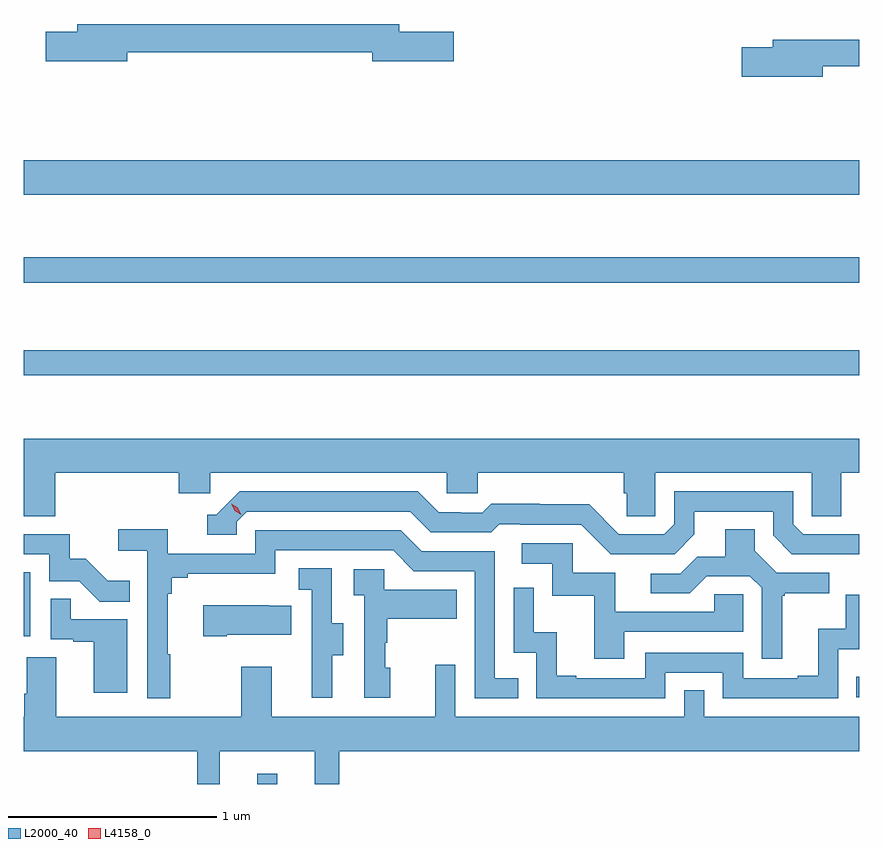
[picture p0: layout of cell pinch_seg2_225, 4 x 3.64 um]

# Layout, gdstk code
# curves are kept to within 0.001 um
import gdstk
lib = gdstk.Library(unit=1e-6, precision=1e-09)
def R(c, l, rs):  # rectangles x0, y0, x1, y1
    for r in rs: c.add(gdstk.rectangle(r[:2], r[2:], *l))
def P(c, l, *ps):  # polygons
    for p in ps: c.add(gdstk.Polygon(p, *l))
L2000_40 = (2000, 40)
L4158_0 = (4158, 0)

pinch_seg2_225 = lib.new_cell('pinch_seg2_225')
R(pinch_seg2_225, L2000_40, [(996.183,646.147,996.28,646.195), (999.049,646.563,999.065,646.66), (995.065,646.854,995.098,647.161), (995.065,648.102,999.065,648.223), (995.065,648.546,999.065,648.667), (995.065,648.968,999.065,649.132)])
P(pinch_seg2_225, L2000_40, [(995.56,649.648),(996.734,649.648),(996.734,649.606),(997.123,649.606),(997.123,649.748),(996.862,649.748),(996.862,649.784),(995.321,649.784),(995.321,649.748),(995.172,649.748),(995.172,649.606),(995.56,649.606)],
  [(998.89,649.581),(999.065,649.581),(999.065,649.709),(998.651,649.709),(998.651,649.673),(998.502,649.673),(998.502,649.531),(998.89,649.531)],
  [(995.216,647.636),(995.807,647.636),(995.807,647.538),(995.958,647.538),(995.958,647.636),(997.089,647.636),(997.089,647.538),(997.239,647.538),(997.239,647.636),(997.937,647.636),(997.937,647.538),(997.951,647.538),(997.951,647.428),(998.088,647.428),(998.088,647.636),(998.838,647.636),(998.838,647.428),(998.977,647.428),(998.977,647.636),(999.065,647.636),(999.065,647.8),(995.065,647.8),(995.065,647.428),(995.216,647.428)],
  [(999.065,647.343),(998.796,647.343),(998.748,647.391),(998.748,647.547),(998.178,647.547),(998.178,647.391),(998.13,647.343),(997.914,647.343),(997.772,647.485),(997.536,647.485),(997.536,647.488),(997.303,647.488),(997.261,647.445),(997.158,647.445),(997.158,647.448),(997.051,647.448),(996.952,647.547),(996.099,647.547),(995.988,647.436),(995.945,647.436),(995.945,647.34),(996.084,647.34),(996.084,647.403),(996.132,647.451),(996.915,647.451),(997.014,647.352),(997.303,647.352),(997.342,647.391),(997.441,647.391),(997.441,647.388),(997.734,647.388),(997.875,647.247),(998.181,647.247),(998.275,647.341),(998.275,647.451),(998.652,647.451),(998.652,647.337),(998.742,647.247),(999.065,647.246)],
  [(995.767,646.769),(995.755,646.769),(995.755,647.057),(995.774,647.057),(995.774,647.134),(995.851,647.134),(995.851,647.153),(996.27,647.153),(996.27,647.265),(996.834,647.265),(996.933,647.166),(997.224,647.166),(997.224,646.557),(997.433,646.557),(997.433,646.653),(997.32,646.653),(997.32,647.262),(996.97,647.262),(996.871,647.361),(996.174,647.361),(996.174,647.25),(995.756,647.25),(995.756,647.366),(995.517,647.366),(995.517,647.264),(995.658,647.264),(995.658,646.557),(995.767,646.557)],
  [(998.695,647.049),(998.707,647.049),(998.707,647.06),(998.92,647.06),(998.92,647.157),(998.67,647.157),(998.563,647.264),(998.563,647.366),(998.423,647.366),(998.423,647.234),(998.288,647.234),(998.208,647.154),(998.067,647.154),(998.067,647.061),(998.254,647.061),(998.335,647.142),(998.541,647.142),(998.598,647.085),(998.598,646.746),(998.695,646.746)],
  [(995.573,647.119),(995.469,647.119),(995.362,647.226),(995.286,647.226),(995.286,647.343),(995.065,647.343),(995.065,647.247),(995.187,647.247),(995.187,647.118),(995.331,647.118),(995.429,647.02),(995.573,647.02)],
  [(997.939,646.875),(998.508,646.875),(998.508,647.055),(998.371,647.055),(998.371,646.971),(997.897,646.971),(997.897,647.157),(997.692,647.157),(997.692,647.298),(997.449,647.298),(997.449,647.202),(997.596,647.202),(997.596,647.049),(997.795,647.049),(997.795,646.746),(997.939,646.746)],
  [(996.541,646.762),(996.595,646.762),(996.595,646.917),(996.54,646.917),(996.54,647.18),(996.381,647.18),(996.381,647.077),(996.444,647.077),(996.444,646.773),(996.443,646.773),(996.443,646.56),(996.541,646.56)],
  [(996.82,646.704),(996.795,646.704),(996.795,646.823),(996.805,646.823),(996.805,646.937),(997.139,646.937),(997.139,647.077),(996.792,647.077),(996.792,647.175),(996.645,647.175),(996.645,647.051),(996.696,647.051),(996.696,646.56),(996.82,646.56)],
  [(998.136,646.68),(998.412,646.68),(998.412,646.557),(998.964,646.557),(998.964,646.793),(999.065,646.793),(999.065,647.052),(999,647.052),(999,646.891),(998.867,646.891),(998.867,646.666),(998.771,646.666),(998.771,646.653),(998.508,646.653),(998.508,646.776),(998.04,646.776),(998.04,646.653),(997.711,646.653),(997.711,646.666),(997.616,646.666),(997.616,646.874),(997.506,646.874),(997.506,647.086),(997.41,647.086),(997.41,646.776),(997.518,646.776),(997.518,646.557),(998.136,646.557)],
  [(995.56,646.935),(995.291,646.935),(995.291,647.033),(995.196,647.033),(995.196,646.839),(995.303,646.839),(995.303,646.827),(995.402,646.827),(995.402,646.584),(995.56,646.584)],
  [(996.037,646.862),(996.347,646.862),(996.347,646.999),(996.239,646.999),(996.239,647.002),(995.925,647.002),(995.925,646.855),(996.037,646.855)],
  [(996.005,646.304),(996.458,646.304),(996.458,646.147),(996.575,646.147),(996.575,646.304),(999.065,646.304),(999.065,646.468),(998.322,646.468),(998.322,646.595),(998.226,646.595),(998.226,646.468),(997.131,646.468),(997.131,646.717),(997.034,646.717),(997.034,646.468),(996.253,646.468),(996.253,646.708),(996.106,646.708),(996.106,646.468),(995.221,646.468),(995.221,646.754),(995.081,646.754),(995.081,646.58),(995.069,646.58),(995.069,646.468),(995.065,646.468),(995.065,646.304),(995.895,646.304),(995.895,646.147),(996.005,646.147)])
P(pinch_seg2_225, L4158_0, [(996.106,647.435),(996.076,647.455),(996.06,647.488),(996.06,647.488),(996.06,647.488),(996.091,647.468),(996.106,647.436),(996.106,647.435)])

lib.write_gds('pinch_seg2_225.gds')
